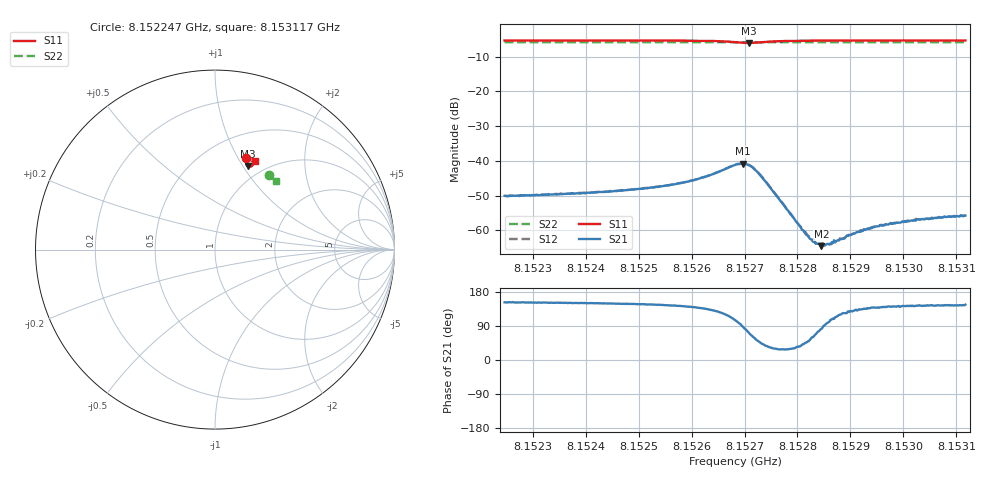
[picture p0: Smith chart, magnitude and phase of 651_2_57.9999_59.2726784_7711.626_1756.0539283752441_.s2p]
#  HZ  S  RI  R  50.00
! Rohde & Schwarz Vector Network Analyzer
! Rohde-Schwarz,ZNB20-2Port,1311601062101988,3.16
! Created: UTC 3/21/2024, 1:19:27 AM
! freq[Hz]  re:S11  im:S11  re:S21  im:S21  re:S12  im:S12  re:S22  im:S22
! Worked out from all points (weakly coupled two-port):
!   401 points, 8.152247 GHz to 8.153117 GHz, reference 50 ohm
!   highest |S21| = -40.73 dB at 8.152697 GHz (marker M1); lowest = -64.5 dB at 8.152845 GHz (marker M2)
!   lowest |S11| = -6.0 dB at 8.152708 GHz (marker M3), VSWR 2.99, Z = 42.7 + j52.6 ohm
!   |S11| at or under -10 dB: nowhere
!   |S22| runs from -5.9 to -5.8 dB; largest |S21 - S12| = 0.00021
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8.152247e9  0.174 0.5118  -0.00278 0.00147  -0.00282 0.00151  0.2992 0.4153
8.1523928e9  0.1852 0.5078  -0.003 0.00171  -0.003 0.00173  0.3065 0.4096
8.1524819e9  0.1925 0.5047  -0.00325 0.00203  -0.00323 0.0021  0.3111 0.4058
8.1525385e9  0.198 0.502  -0.00353 0.00239  -0.0035 0.00248  0.314 0.4036
8.1526124e9  0.2069 0.4947  -0.00409 0.0037  -0.00407 0.00375  0.3178 0.4004
8.1526363e9  0.2103 0.4895  -0.00425 0.00468  -0.00422 0.00476  0.3189 0.3994
8.152682e9  0.2078 0.468  -0.00234 0.00843  -0.00229 0.00849  0.3206 0.3967
8.1526972e9  0.1958 0.4612  0.00041 0.00919  0.000511 0.00923  0.3207 0.396
8.1527081e9  0.1844 0.4631  0.00269 0.00828  0.00279 0.00836  0.3207 0.3958
8.152719e9  0.1763 0.4707  0.00401 0.00639  0.00421 0.00645  0.3211 0.3959
8.1527299e9  0.1739 0.4799  0.00433 0.00445  0.00447 0.00448  0.3218 0.3957
8.1528082e9  0.1925 0.5001  0.000796 0.000655  0.000818 0.000662  0.3265 0.3931
8.1528277e9  0.196 0.5003  0.000363 0.000634  0.00041 0.000583  0.3275 0.3923
8.1528364e9  0.1973 0.5003  0.00021 0.000611  0.000198 0.000608  0.3279 0.392
8.1528451e9  0.1986 0.5003  8.19e-05 0.000589  9.6e-05 0.00064  0.3283 0.3916
8.1528604e9  0.2007 0.5  -0.000123 0.000614  -0.000138 0.000627  0.3292 0.3909
8.1528756e9  0.2024 0.4999  -0.000315 0.000651  -0.000297 0.000645  0.3298 0.3902
8.1529213e9  0.2072 0.4987  -0.000684 0.00071  -0.000678 0.00071  0.3321 0.3883
8.152943e9  0.2094 0.4982  -0.000833 0.000742  -0.000827 0.000772  0.3332 0.3873
8.1529734e9  0.2121 0.4974  -0.000976 0.000776  -0.000962 0.000766  0.3347 0.386
8.15303e9  0.2168 0.4958  -0.00117 0.000837  -0.00115 0.000865  0.3372 0.3836
8.153117e9  0.2232 0.4933  -0.00136 0.000917  -0.00135 0.000998  0.3413 0.3799
